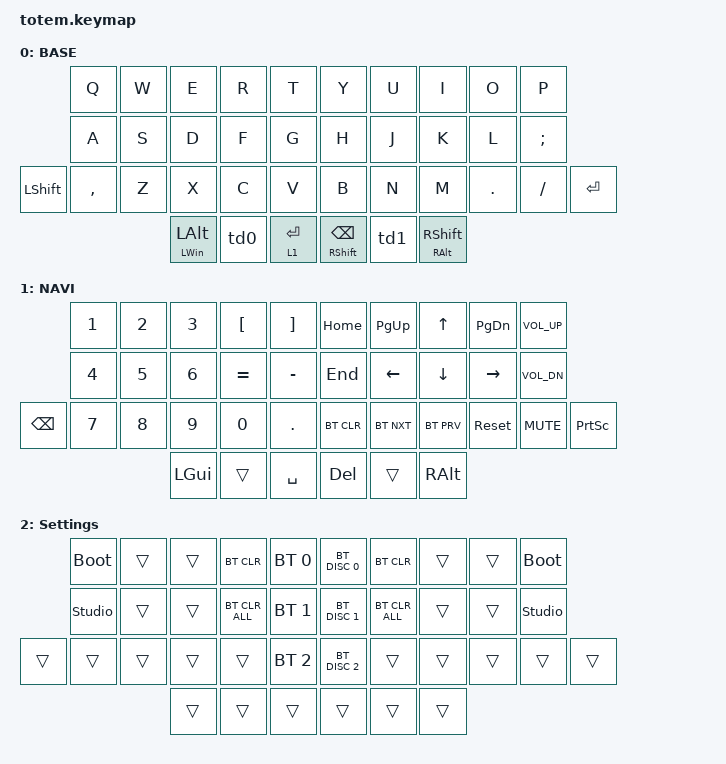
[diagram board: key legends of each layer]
//
//                                                        ▀▀▀▀▀     ▀▀▀▀▀          ▀▀█▀▀
//                                                        ▄▀▀▀▄  ▄  ▄▀▀▀▄  ▄  ▄▀▀▀▄  █  ▄▀▀▀▄
//                                                        █   █  █  █   █  █  █   █  █  █   █
//                                                         ▀▀▀   █   ▀▀▀   █   ▀▀▀   ▀   ▀▀▀
//                                                               █      ▄▄▄█▄▄▄    █   █  
//                                                               ▀      █  █  █     █▄█
//                                                             ▀▀▀▀▀    █  █  █      ▀
//                                                                      ▀  ▀  ▀
//
// ▄▄▄▄▄▄▄▄▄▄▄▄▄▄▄▄▄▄▄▄▄▄▄▄▄▄▄▄▄▄▄▄▄▄▄▄▄▄▄▄▄▄▄▄▄▄▄▄▄▄▄▄▄▄▄▄▄▄▄▄▄▄▄▄▄▄▄▄▄▄▄▄▄▄▄▄▄▄▄▄▄▄▄▄▄▄▄▄▄▄▄▄▄▄▄▄▄▄▄▄▄▄▄▄▄▄▄▄▄▄▄▄▄▄▄▄▄▄▄▄▄▄▄▄▄▄▄▄▄▄▄▄▄▄▄▄▄▄▄▄▄▄▄▄▄▄▄▄▄

#include <behaviors.dtsi>
#include <dt-bindings/zmk/bt.h>
#include <dt-bindings/zmk/keys.h>

#define BASE 0
#define NAV  1
#define SYM  2
#define ADJ  3
#define TVP1 4
#define TVP2 5

&mt {
    quick-tap-ms = <100>;
    global-quick-tap;
    flavor = "tap-preferred";
    tapping-term-ms = <170>;
};

/ {
    combos {
        compatible = "zmk,combos";

        c1 {
            bindings = <&kp LSHIFT>;
            key-positions = <21 22 23>;
        };

        c2 {
            bindings = <&kp RIGHT>;
            key-positions = <12 13>;
        };

        c3 {
            bindings = <&kp LEFT>;
            key-positions = <12 11>;
        };

        c4 {
            bindings = <&kp UP>;
            key-positions = <12 1>;
        };

        c5 {
            bindings = <&kp DOWN>;
            key-positions = <12 22>;
        };

        settings {
            bindings = <&mo 2>;
            key-positions = <34 33>;
        };

        settings_R {
            bindings = <&mo 2>;
            key-positions = <36 35>;
        };
    };

    behaviors {
        td0: td0 {
            compatible = "zmk,behavior-tap-dance";
            label = "TD0";
            #binding-cells = <0>;
            bindings = <&mt0 1 SPACE>, <&mt LCTRL ESCAPE>;

            tapping-term-ms = <170>;
        };

        mt0: mt0 {
            compatible = "zmk,behavior-hold-tap";
            label = "MT0";
            bindings = <&mo>, <&kp>;

            #binding-cells = <2>;
            tapping-term-ms = <170>;
            hold-trigger-key-positions = <33>;
        };

        mt1: mt1 {
            compatible = "zmk,behavior-hold-tap";
            label = "MT1";
            bindings = <&mo>, <&kp>;

            #binding-cells = <2>;
            tapping-term-ms = <170>;
            hold-trigger-key-positions = <36>;
        };

        td1: td1 {
            compatible = "zmk,behavior-tap-dance";
            label = "TD1";
            #binding-cells = <0>;
            bindings = <&mt1 1 SPACE>, <&mt CAPSLOCK RSHFT>;

            tapping-term-ms = <170>;
        };

        td2: td2 {
            compatible = "zmk,behavior-hold-tap";
            label = "TD2";
            bindings = <&mo>, <&kp>;

            #binding-cells = <2>;
            tapping-term-ms = <200>;
            hold-trigger-key-positions = <34>;
        };

        td3: td3 {
            compatible = "zmk,behavior-tap-dance";
            label = "TD3";
            #binding-cells = <0>;
            bindings = <&mt RS(P) P>, <&mt QUESTION SLASH>;
        };

        td4: td4 {
            compatible = "zmk,behavior-tap-dance";
            label = "TD4";
            #binding-cells = <0>;
            bindings = <&mt COLON SEMICOLON>, <&mt SQT DOUBLE_QUOTES>;

            tapping-term-ms = <200>;
        };

        td5: td5 {
            compatible = "zmk,behavior-tap-dance";
            label = "TD5";
            #binding-cells = <0>;
            bindings = <&mt LS(Q) Q>, <&mt TILDE GRAVE>;

            tapping-term-ms = <200>;
        };
    };

    keymap {
        compatible = "zmk,keymap";

        // ▄▄▄▄▄▄▄▄▄▄▄▄▄▄▄▄▄▄▄▄▄▄▄▄▄▄▄▄▄▄▄▄▄▄▄▄▄▄▄▄▄▄▄▄▄▄▄▄▄▄▄▄▄▄▄▄▄▄▄▄▄▄▄▄▄▄▄▄▄▄▄▄▄▄▄▄▄▄▄▄▄▄▄▄▄▄▄▄▄▄▄▄▄▄▄▄▄▄▄▄▄▄▄▄▄▄▄▄▄▄▄▄▄▄▄▄▄▄▄▄▄▄▄▄▄▄▄▄▄▄▄▄▄▄▄▄▄▄▄▄▄▄▄▄▄▄▄▄▄

        BASE {
            // ┏━━━━━━━━━━━━━━━━━━━━━━━━━━━━━━━━━━━━━━━┓

            label = "BASE";

            // ┗━━━━━━━━━━━━━━━━━━━━━━━━━━━━━━━━━━━━━━━┛
            //             ┏━━━━━━━━━━━┳━━━━━━━━━━━┳━━━━━━━━━━━┳━━━━━━━━━━━┳━━━━━━━━━━━┓   ┏━━━━━━━━━━━┳━━━━━━━━━━━┳━━━━━━━━━━━┳━━━━━━━━━━━┳━━━━━━━━━━━┓
            //             ┃     Q     ┃     W     ┃     F     ┃     P     ┃     G     ┃   ┃     J     ┃     L     ┃     U     ┃     Y     ┃     ;     ┃
            //             ┣━━━━━━━━━━━╋━━━━━━━━━━━╋━━━━━━━━━━━╋━━━━━━━━━━━╋━━━━━━━━━━━┫   ┣━━━━━━━━━━━╋━━━━━━━━━━━╋━━━━━━━━━━━╋━━━━━━━━━━━╋━━━━━━━━━━━┫
            //             ┃     A     ┃     R     ┃     S     ┃     T     ┃     D     ┃   ┃     H     ┃     N     ┃     E     ┃     I     ┃     O     ┃
            // ┏━━━━━━━━━━━╋━━━━━━━━━━━╋━━━━━━━━━━━╋━━━━━━━━━━━╋━━━━━━━━━━━╋━━━━━━━━━━━┫   ┣━━━━━━━━━━━╋━━━━━━━━━━━╋━━━━━━━━━━━╋━━━━━━━━━━━╋━━━━━━━━━━━╋━━━━━━━━━━━┓
            // ┃     Q     ┃     Z     ┃     X     ┃     C     ┃     V     ┃     B     ┃   ┃     K     ┃     M     ┃     ,     ┃     .     ┃     /     ┃     \     ┃
            // ┗━━━━━━━━━━━┻━━━━━━━━━━━┻━━━━━━━━━━━╋━━━━━━━━━━━╋━━━━━━━━━━━╋━━━━━━━━━━━┫   ┣━━━━━━━━━━━╋━━━━━━━━━━━╋━━━━━━━━━━━╋━━━━━━━━━━━┻━━━━━━━━━━━┻━━━━━━━━━━━┛
            //                                     ┃    DEL    ┃    TAB    ┃    SPC    ┃   ┃   ENTER   ┃           ┃   BSPC    ┃
            //                                     ┗━━━━━━━━━━━┻━━━━━━━━━━━┻━━━━━━━━━━━┛   ┗━━━━━━━━━━━┻━━━━━━━━━━━┻━━━━━━━━━━━┛

            bindings = <
           &kp Q      &kp W  &kp E              &kp R  &kp T         &kp Y                      &kp U  &kp I                &kp O    &kp P
           &kp A      &kp S  &kp D              &kp F  &kp G         &kp H                      &kp J  &kp K                &kp L    &kp SEMI
&kp LSHFT  &kp COMMA  &kp Z  &kp X              &kp C  &kp V         &kp B                      &kp N  &kp M                &kp DOT  &kp FSLH  &kp RET
                             &mt LWIN LEFT_ALT  &td0   &td2 1 ENTER  &mt RIGHT_SHIFT BACKSPACE  &td1   &mt RIGHT_ALT RSHFT
            >;
        };

        // ▄▄▄▄▄▄▄▄▄▄▄▄▄▄▄▄▄▄▄▄▄▄▄▄▄▄▄▄▄▄▄▄▄▄▄▄▄▄▄▄▄▄▄▄▄▄▄▄▄▄▄▄▄▄▄▄▄▄▄▄▄▄▄▄▄▄▄▄▄▄▄▄▄▄▄▄▄▄▄▄▄▄▄▄▄▄▄▄▄▄▄▄▄▄▄▄▄▄▄▄▄▄▄▄▄▄▄▄▄▄▄▄▄▄▄▄▄▄▄▄▄▄▄▄▄▄▄▄▄▄▄▄▄▄▄▄▄▄▄▄▄▄▄▄▄▄▄▄▄

        nav_layer {
            // ┏━━━━━━━━━━━━━━━━━━━━━━━━━━━━━━━━━━━━━━━┓

            label = "NAVI";

            // ┗━━━━━━━━━━━━━━━━━━━━━━━━━━━━━━━━━━━━━━━┛
            //             ┏━━━━━━━━━━━┳━━━━━━━━━━━┳━━━━━━━━━━━┳━━━━━━━━━━━┳━━━━━━━━━━━┓   ┏━━━━━━━━━━━┳━━━━━━━━━━━┳━━━━━━━━━━━┳━━━━━━━━━━━┳━━━━━━━━━━━┓
            //             ┃           ┃           ┃     UP    ┃           ┃     {     ┃   ┃     }     ┃     7     ┃     8     ┃     9     ┃     +     ┃
            //             ┣━━━━━━━━━━━╋━━━━━━━━━━━╋━━━━━━━━━━━╋━━━━━━━━━━━╋━━━━━━━━━━━┫   ┣━━━━━━━━━━━╋━━━━━━━━━━━╋━━━━━━━━━━━╋━━━━━━━━━━━╋━━━━━━━━━━━┫
            //             ┃   SHIFT   ┃   LEFT    ┃    DOWN   ┃   RIGHT   ┃     [     ┃   ┃     ]     ┃     4     ┃     5     ┃     6     ┃     -     ┃
            // ┏━━━━━━━━━━━╋━━━━━━━━━━━╋━━━━━━━━━━━╋━━━━━━━━━━━╋━━━━━━━━━━━╋━━━━━━━━━━━┫   ┣━━━━━━━━━━━╋━━━━━━━━━━━╋━━━━━━━━━━━╋━━━━━━━━━━━╋━━━━━━━━━━━╋━━━━━━━━━━━┓
            // ┃           ┃           ┃   P UP    ┃  C LOCK   ┃  P DOWN   ┃     (     ┃   ┃     )     ┃     1     ┃     2     ┃     3     ┃     *     ┃           ┃
            // ┗━━━━━━━━━━━┻━━━━━━━━━━━┻━━━━━━━━━━━╋━━━━━━━━━━━╋━━━━━━━━━━━╋━━━━━━━━━━━┫   ┣━━━━━━━━━━━╋━━━━━━━━━━━╋━━━━━━━━━━━╋━━━━━━━━━━━┻━━━━━━━━━━━┻━━━━━━━━━━━┛
            //                                     ┃           ┃    TAB    ┃    SPC    ┃   ┃    DEL    ┃     0     ┃           ┃
            //                                     ┗━━━━━━━━━━━┻━━━━━━━━━━━┻━━━━━━━━━━━┛   ┗━━━━━━━━━━━┻━━━━━━━━━━━┻━━━━━━━━━━━┛

            bindings = <
               &kp NUMBER_1  &kp NUMBER_2  &kp NUMBER_3  &kp LEFT_BRACKET  &kp RIGHT_BRACKET  &kp HOME    &kp PAGE_UP     &kp UP_ARROW    &kp PAGE_DOWN    &kp C_VOL_UP
               &kp NUMBER_4  &kp NUMBER_5  &kp NUMBER_6  &kp EQUAL         &kp MINUS          &kp END     &kp LEFT_ARROW  &kp DOWN_ARROW  &kp RIGHT_ARROW  &kp C_VOL_DN
&kp BACKSPACE  &kp NUMBER_7  &kp NUMBER_8  &kp NUMBER_9  &kp NUMBER_0      &kp PERIOD         &bt BT_CLR  &bt BT_NXT      &bt BT_PRV      &sys_reset       &kp C_MUTE    &kp PRINTSCREEN
                                           &kp LGUI      &trans            &kp SPACE          &kp DELETE  &trans          &kp RALT
            >;
        };

        Settings {
            bindings = <
        &bootloader     &trans  &trans  &bt BT_CLR      &bt BT_SEL 0  &bt BT_DISC 0  &bt BT_CLR      &trans  &trans  &bootloader
        &studio_unlock  &trans  &trans  &bt BT_CLR_ALL  &bt BT_SEL 1  &bt BT_DISC 1  &bt BT_CLR_ALL  &trans  &trans  &studio_unlock
&trans  &trans          &trans  &trans  &trans          &bt BT_SEL 2  &bt BT_DISC 2  &trans          &trans  &trans  &trans          &trans
                                &trans  &trans          &trans        &trans         &trans          &trans
            >;
        };

        // ▄▄▄▄▄▄▄▄▄▄▄▄▄▄▄▄▄▄▄▄▄▄▄▄▄▄▄▄▄▄▄▄▄▄▄▄▄▄▄▄▄▄▄▄▄▄▄▄▄▄▄▄▄▄▄▄▄▄▄▄▄▄▄▄▄▄▄▄▄▄▄▄▄▄▄▄▄▄▄▄▄▄▄▄▄▄▄▄▄▄▄▄▄▄▄▄▄▄▄▄▄▄▄▄▄▄▄▄▄▄▄▄▄▄▄▄▄▄▄▄▄▄▄▄▄▄▄▄▄▄▄▄▄▄▄▄▄▄▄▄▄▄▄▄▄▄▄▄▄
        // ▄▄▄▄▄▄▄▄▄▄▄▄▄▄▄▄▄▄▄▄▄▄▄▄▄▄▄▄▄▄▄▄▄▄▄▄▄▄▄▄▄▄▄▄▄▄▄▄▄▄▄▄▄▄▄▄▄▄▄▄▄▄▄▄▄▄▄▄▄▄▄▄▄▄▄▄▄▄▄▄▄▄▄▄▄▄▄▄▄▄▄▄▄▄▄▄▄▄▄▄▄▄▄▄▄▄▄▄▄▄▄▄▄▄▄▄▄▄▄▄▄▄▄▄▄▄▄▄▄▄▄▄▄▄▄▄▄▄▄▄▄▄▄▄▄▄▄▄▄
        // ▄▄▄▄▄▄▄▄▄▄▄▄▄▄▄▄▄▄▄▄▄▄▄▄▄▄▄▄▄▄▄▄▄▄▄▄▄▄▄▄▄▄▄▄▄▄▄▄▄▄▄▄▄▄▄▄▄▄▄▄▄▄▄▄▄▄▄▄▄▄▄▄▄▄▄▄▄▄▄▄▄▄▄▄▄▄▄▄▄▄▄▄▄▄▄▄▄▄▄▄▄▄▄▄▄▄▄▄▄▄▄▄▄▄▄▄▄▄▄▄▄▄▄▄▄▄▄▄▄▄▄▄▄▄▄▄▄▄▄▄▄▄▄▄▄▄▄▄▄
        // ▄▄▄▄▄▄▄▄▄▄▄▄▄▄▄▄▄▄▄▄▄▄▄▄▄▄▄▄▄▄▄▄▄▄▄▄▄▄▄▄▄▄▄▄▄▄▄▄▄▄▄▄▄▄▄▄▄▄▄▄▄▄▄▄▄▄▄▄▄▄▄▄▄▄▄▄▄▄▄▄▄▄▄▄▄▄▄▄▄▄▄▄▄▄▄▄▄▄▄▄▄▄▄▄▄▄▄▄▄▄▄▄▄▄▄▄▄▄▄▄▄▄▄▄▄▄▄▄▄▄▄▄▄▄▄▄▄▄▄▄▄▄▄▄▄▄▄▄▄
    };
};
